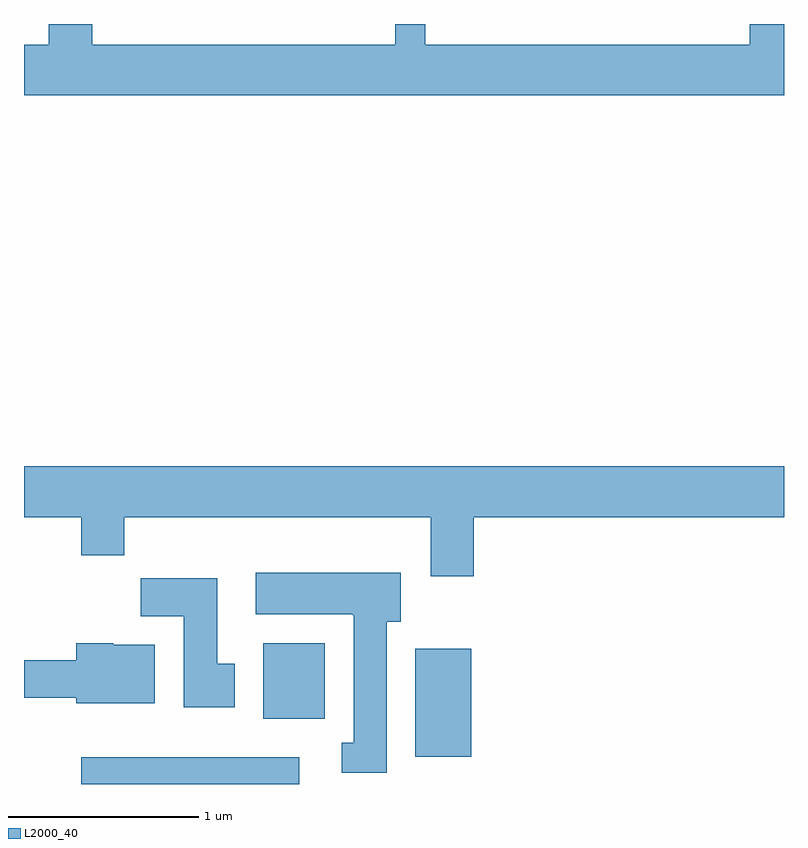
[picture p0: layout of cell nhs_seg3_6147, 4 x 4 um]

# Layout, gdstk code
import gdstk
lib = gdstk.Library(unit=1e-6, precision=1e-09)
def R(c, l, rs):  # rectangles x0, y0, x1, y1
    for r in rs: c.add(gdstk.rectangle(r[:2], r[2:], *l))
def P(c, l, *ps):  # polygons
    for p in ps: c.add(gdstk.Polygon(p, *l))
L2000_40 = (2000, 40)

nhs_seg3_6147 = lib.new_cell('nhs_seg3_6147')
R(nhs_seg3_6147, L2000_40, [(365.911,1177.892,367.059,1178.034), (367.671,1178.036,367.964,1178.604), (366.871,1178.236,367.194,1178.634)])
P(nhs_seg3_6147, L2000_40, [(369.611,1181.892),(369.431,1181.892),(369.431,1181.784),(367.724,1181.784),(367.724,1181.892),(367.566,1181.892),(367.566,1181.784),(365.969,1181.784),(365.969,1181.892),(365.741,1181.892),(365.741,1181.784),(365.611,1181.784),(365.611,1181.516),(369.611,1181.516)],
  [(365.611,1179.296),(365.911,1179.296),(365.911,1179.096),(366.139,1179.096),(366.139,1179.296),(367.751,1179.296),(367.751,1178.986),(367.979,1178.986),(367.979,1179.296),(369.611,1179.296),(369.611,1179.564),(365.611,1179.564)],
  [(367.519,1178.746),(367.594,1178.746),(367.594,1179.004),(366.831,1179.004),(366.831,1178.786),(367.34,1178.786),(367.34,1178.78),(367.346,1178.78),(367.346,1178.109),(367.283,1178.109),(367.283,1177.951),(367.519,1177.951)],
  [(366.719,1178.524),(366.629,1178.524),(366.629,1178.974),(366.226,1178.974),(366.226,1178.776),(366.451,1178.776),(366.451,1178.296),(366.719,1178.296)],
  [(366.299,1178.624),(366.08,1178.624),(366.08,1178.634),(365.886,1178.634),(365.886,1178.544),(365.611,1178.544),(365.611,1178.346),(365.886,1178.346),(365.886,1178.316),(366.299,1178.316)])

lib.write_gds('nhs_seg3_6147.gds')
